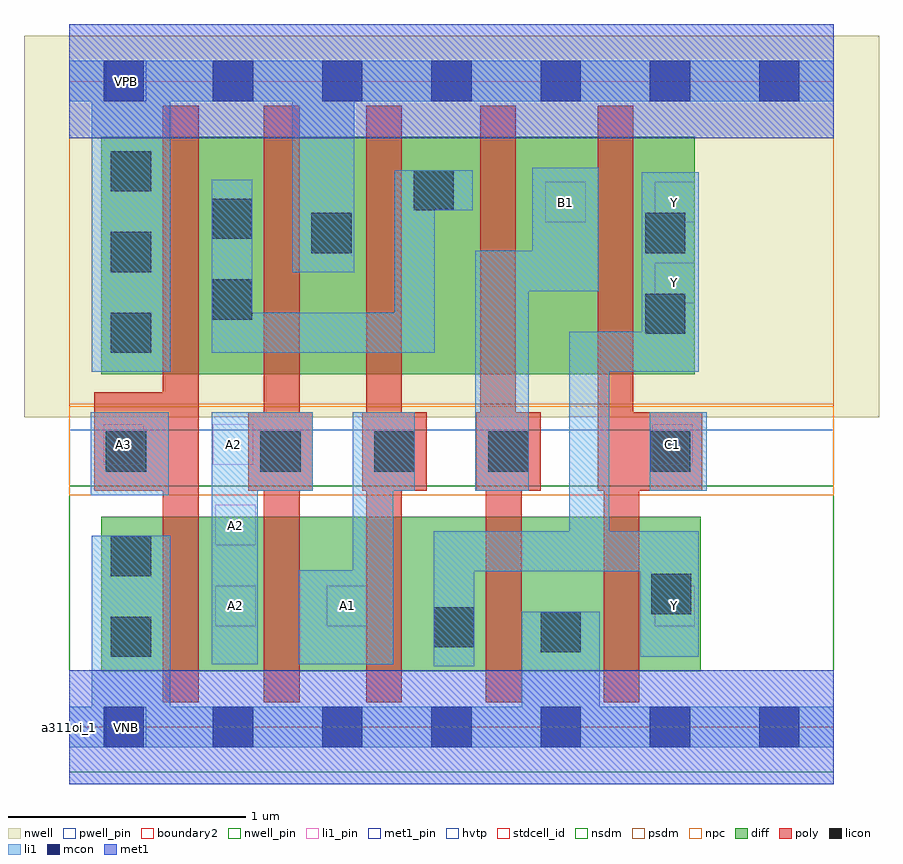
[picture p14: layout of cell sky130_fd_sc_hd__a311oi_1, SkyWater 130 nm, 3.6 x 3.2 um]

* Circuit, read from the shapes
.subckt sky130_fd_sc_hd__a311oi_1 A1 A2 A3 B1 C1 VGND VNB VPB VPWR Y
XM1 n1 A3 VGND VNB sky130_fd_pr__nfet_01v8 w=0.65 l=0.15
XM2 n2 A2 n1 VNB sky130_fd_pr__nfet_01v8 w=0.65 l=0.15
XM3 Y A1 n2 VNB sky130_fd_pr__nfet_01v8 w=0.65 l=0.15
XM4 VGND B1 Y VNB sky130_fd_pr__nfet_01v8 w=0.65 l=0.15
XM5 Y C1 VGND VNB sky130_fd_pr__nfet_01v8 w=0.65 l=0.15
XM6 n3 A3 VPWR VPB sky130_fd_pr__pfet_01v8_hvt w=1 l=0.15
XM7 VPWR A2 n3 VPB sky130_fd_pr__pfet_01v8_hvt w=1 l=0.15
XM8 n3 A1 VPWR VPB sky130_fd_pr__pfet_01v8_hvt w=1 l=0.15
XM9 n4 B1 n3 VPB sky130_fd_pr__pfet_01v8_hvt w=1 l=0.15
XM10 Y C1 n4 VPB sky130_fd_pr__pfet_01v8_hvt w=1 l=0.15
.ends

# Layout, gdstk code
import gdstk
lib = gdstk.Library(unit=1e-6, precision=1e-09)
def R(c, l, rs):  # rectangles x0, y0, x1, y1
    for r in rs: c.add(gdstk.rectangle(r[:2], r[2:], *l))
def A(c, l, x, y, w, h, nx, ny, dx, dy):  # array of equal rectangles
    R(c, l, [(x+i*dx, y+j*dy, x+i*dx+w, y+j*dy+h) for i in range(nx) for j in range(ny)])
def P(c, l, *ps):  # polygons
    for p in ps: c.add(gdstk.Polygon(p, *l))
nwell_pin = (64, 16)
nwell = (64, 20)
diff = (65, 20)
poly = (66, 20)
licon = (66, 44)
li1_pin = (67, 16)
li1 = (67, 20)
mcon = (67, 44)
met1_pin = (68, 16)
met1 = (68, 20)
hvtp = (78, 44)
stdcell_id = (81, 4)
nsdm = (93, 44)
psdm = (94, 20)
npc = (95, 20)
pwell_pin = (122, 16)
boundary2 = (236, 0)

sky130_fd_sc_hd__a311oi_ = lib.new_cell('sky130_fd_sc_hd__a311oi_1')
R(sky130_fd_sc_hd__a311oi_, nwell_pin, [(0.155,2.635,0.325,2.805)])
R(sky130_fd_sc_hd__a311oi_, nwell, [(-0.19,1.305,3.41,2.91)])
R(sky130_fd_sc_hd__a311oi_, diff, [(0.135,0.235,2.66,0.885), (0.135,1.485,2.635,2.485)])
P(sky130_fd_sc_hd__a311oi_, poly, [(0.395,0.105),(0.395,0.995),(0.105,0.995),(0.105,1.41),(0.395,1.41),(0.395,2.615),(0.545,2.615),(0.545,0.105)],
  [(0.82,0.105),(0.82,0.995),(0.755,0.995),(0.755,1.325),(0.82,1.325),(0.82,2.615),(0.97,2.615),(0.97,1.325),(1.025,1.325),(1.025,0.995),(0.97,0.995),(0.97,0.105)],
  [(1.755,0.105),(1.755,0.995),(1.715,0.995),(1.715,1.325),(1.73,1.325),(1.73,2.615),(1.88,2.615),(1.88,1.325),(1.985,1.325),(1.985,0.995),(1.905,0.995),(1.905,0.105)],
  [(1.25,0.105),(1.25,0.995),(1.235,0.995),(1.235,1.325),(1.25,1.325),(1.25,2.615),(1.4,2.615),(1.4,1.325),(1.505,1.325),(1.505,0.995),(1.4,0.995),(1.4,0.105)],
  [(2.25,0.105),(2.25,0.995),(2.225,0.995),(2.225,2.615),(2.375,2.615),(2.375,1.325),(2.665,1.325),(2.665,0.995),(2.4,0.995),(2.4,0.105)])
A(sky130_fd_sc_hd__a311oi_, licon, 0.805, 1.075, 0.17, 0.17, 3, 1, 0.48, 0)
A(sky130_fd_sc_hd__a311oi_, licon, 0.175, 1.575, 0.17, 0.17, 1, 3, 0, 0.34)
R(sky130_fd_sc_hd__a311oi_, licon, [(0.175,0.295,0.345,0.465), (1.985,0.315,2.155,0.485), (1.535,0.335,1.705,0.505), (2.45,0.475,2.62,0.645), (0.175,0.635,0.345,0.805), (0.155,1.075,0.325,1.245), (2.445,1.075,2.615,1.245), (2.425,1.655,2.595,1.825), (0.6,1.715,0.77,1.885), (1.02,1.995,1.19,2.165), (2.425,1.995,2.595,2.165), (0.6,2.055,0.77,2.225), (1.45,2.175,1.62,2.345)])
R(sky130_fd_sc_hd__a311oi_, li1_pin, [(0.615,0.425,0.785,0.595), (1.085,0.425,1.255,0.595), (2.465,0.425,2.635,0.595), (0.615,0.765,0.785,0.935), (0.145,1.105,0.315,1.275), (0.605,1.105,0.775,1.275), (2.455,1.105,2.625,1.275), (2.465,1.785,2.635,1.955), (2.005,2.125,2.175,2.295), (2.465,2.125,2.635,2.295)])
R(sky130_fd_sc_hd__a311oi_, li1, [(0.09,0.975,0.42,1.325), (2.445,0.995,2.685,1.325)])
P(sky130_fd_sc_hd__a311oi_, li1, [(0.6,0.265),(0.6,1.325),(1.025,1.325),(1.025,0.995),(0.795,0.995),(0.795,0.265)],
  [(1.535,0.255),(1.535,0.825),(2.105,0.825),(2.105,1.665),(2.41,1.665),(2.41,2.335),(2.65,2.335),(2.65,1.495),(2.275,1.495),(2.275,0.825),(2.65,0.825),(2.65,0.295),(2.405,0.295),(2.405,0.655),(1.705,0.655),(1.705,0.255)],
  [(1.71,0.995),(1.71,2.005),(1.95,2.005),(1.95,2.355),(2.23,2.355),(2.23,1.835),(1.935,1.835),(1.935,0.995)],
  [(0,-0.085),(0,0.085),(0.095,0.085),(0.095,0.805),(0.425,0.805),(0.425,0.085),(1.905,0.085),(1.905,0.485),(2.235,0.485),(2.235,0.085),(3.22,0.085),(3.22,-0.085)],
  [(0.965,0.265),(0.965,0.66),(1.195,0.66),(1.195,1.325),(1.455,1.325),(1.455,0.995),(1.365,0.995),(1.365,0.265)],
  [(0.095,1.495),(0.095,2.635),(0,2.635),(0,2.805),(3.22,2.805),(3.22,2.635),(1.2,2.635),(1.2,1.915),(0.94,1.915),(0.94,2.635),(0.425,2.635),(0.425,1.495)],
  [(0.6,1.575),(0.6,2.305),(0.77,2.305),(0.77,1.745),(1.37,1.745),(1.37,2.345),(1.7,2.345),(1.7,2.175),(1.54,2.175),(1.54,1.575)])
A(sky130_fd_sc_hd__a311oi_, mcon, 0.145, -0.085, 0.17, 0.17, 7, 2, 0.46, 2.72)
R(sky130_fd_sc_hd__a311oi_, met1_pin, [(0.155,-0.085,0.325,0.085), (0.155,2.635,0.325,2.805)])
R(sky130_fd_sc_hd__a311oi_, hvtp, [(0,1.25,3.22,2.72)])
R(sky130_fd_sc_hd__a311oi_, stdcell_id, [(0,0,3.22,2.72)])
R(sky130_fd_sc_hd__a311oi_, nsdm, [(0,-0.19,3.22,1.015)])
R(sky130_fd_sc_hd__a311oi_, psdm, [(0,1.36,3.22,2.91)])
R(sky130_fd_sc_hd__a311oi_, npc, [(0,0.975,3.22,1.35)])
R(sky130_fd_sc_hd__a311oi_, pwell_pin, [(0.155,-0.085,0.325,0.085)])
R(sky130_fd_sc_hd__a311oi_, boundary2, [(0,0,3.22,2.72)])
sky130_fd_sc_hd__a311oi_.add(gdstk.FlexPath([(0,2.72),(3.22,2.72)], 0.48, ends="flush", simple_path=True, layer=68, datatype=20))  # met1
sky130_fd_sc_hd__a311oi_.add(gdstk.FlexPath([(0,0),(3.22,0)], 0.48, ends="flush", simple_path=True, layer=68, datatype=20))  # met1
sky130_fd_sc_hd__a311oi_.add(gdstk.Label('A3', (0.23,1.19), layer=67, texttype=5))
sky130_fd_sc_hd__a311oi_.add(gdstk.Label('Y', (2.55,0.51), layer=67, texttype=5))
sky130_fd_sc_hd__a311oi_.add(gdstk.Label('C1', (2.54,1.19), layer=67, texttype=5))
sky130_fd_sc_hd__a311oi_.add(gdstk.Label('Y', (2.55,2.21), layer=67, texttype=5))
sky130_fd_sc_hd__a311oi_.add(gdstk.Label('B1', (2.09,2.21), layer=67, texttype=5))
sky130_fd_sc_hd__a311oi_.add(gdstk.Label('A2', (0.7,0.85), layer=67, texttype=5))
sky130_fd_sc_hd__a311oi_.add(gdstk.Label('A1', (1.17,0.51), layer=67, texttype=5))
sky130_fd_sc_hd__a311oi_.add(gdstk.Label('A2', (0.7,0.51), layer=67, texttype=5))
sky130_fd_sc_hd__a311oi_.add(gdstk.Label('A2', (0.69,1.19), layer=67, texttype=5))
sky130_fd_sc_hd__a311oi_.add(gdstk.Label('Y', (2.55,1.87), layer=67, texttype=5))
sky130_fd_sc_hd__a311oi_.add(gdstk.Label('VNB', (0.24,0), layer=64, texttype=59))
sky130_fd_sc_hd__a311oi_.add(gdstk.Label('VPB', (0.24,2.72), layer=64, texttype=5))
sky130_fd_sc_hd__a311oi_.add(gdstk.Label('VPWR', (0.24,2.72), layer=68, texttype=5))
sky130_fd_sc_hd__a311oi_.add(gdstk.Label('VGND', (0.24,0), layer=68, texttype=5))
sky130_fd_sc_hd__a311oi_.add(gdstk.Label('a311oi_1', (0,0), layer=83, texttype=44))

lib.write_gds('sky130_fd_sc_hd__a311oi_1.gds')
